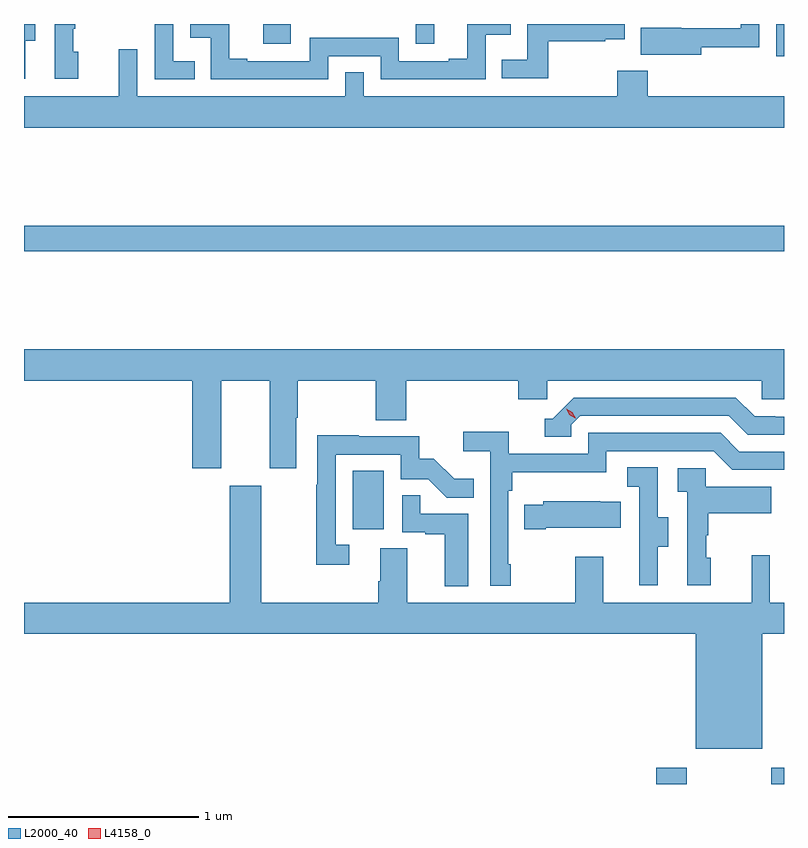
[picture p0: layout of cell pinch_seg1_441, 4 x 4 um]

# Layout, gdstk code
import gdstk
lib = gdstk.Library(unit=1e-6, precision=1e-09)
def R(c, l, rs):  # rectangles x0, y0, x1, y1
    for r in rs: c.add(gdstk.rectangle(r[:2], r[2:], *l))
def P(c, l, *ps):  # polygons
    for p in ps: c.add(gdstk.Polygon(p, *l))
L2000_40 = (2000, 40)
L4158_0 = (4158, 0)

pinch_seg1_441 = lib.new_cell('pinch_seg1_441')
R(pinch_seg1_441, L2000_40, [(1003.193,517.641,1003.353,517.726), (1003.798,517.641,1003.865,517.726), (1001.594,518.982,1001.758,519.289), (999.865,520.444,1003.865,520.58), (1003.823,521.472,1003.865,521.641), (1001.125,521.538,1001.269,521.641), (1001.928,521.538,1002.025,521.641)])
P(pinch_seg1_441, L2000_40, [(1001.466,521.472),(1001.742,521.472),(1001.742,521.349),(1002.294,521.349),(1002.294,521.585),(1002.426,521.585),(1002.426,521.641),(1002.197,521.641),(1002.197,521.458),(1002.101,521.458),(1002.101,521.445),(1001.838,521.445),(1001.838,521.568),(1001.37,521.568),(1001.37,521.445),(1001.041,521.445),(1001.041,521.458),(1000.946,521.458),(1000.946,521.641),(1000.74,521.641),(1000.74,521.568),(1000.848,521.568),(1000.848,521.349),(1001.466,521.349)],
  [(1002.625,521.55),(1002.923,521.55),(1002.923,521.561),(1003.026,521.561),(1003.026,521.641),(1002.514,521.641),(1002.514,521.452),(1002.379,521.452),(1002.379,521.355),(1002.625,521.355)],
  [(1003.429,521.518),(1003.734,521.518),(1003.734,521.641),(1003.638,521.641),(1003.638,521.619),(1003.325,521.619),(1003.325,521.62),(1003.111,521.62),(1003.111,521.48),(1003.429,521.48)],
  [(1000.763,521.445),(1000.65,521.445),(1000.65,521.641),(1000.554,521.641),(1000.554,521.349),(1000.763,521.349)],
  [(1000.15,521.496),(1000.125,521.496),(1000.125,521.615),(1000.135,521.615),(1000.135,521.641),(1000.026,521.641),(1000.026,521.352),(1000.15,521.352)],
  [(999.871,521.554),(999.925,521.554),(999.925,521.641),(999.865,521.641),(999.865,521.352),(999.871,521.352)],
  [(1003.865,521.26),(1003.148,521.26),(1003.148,521.395),(1002.988,521.395),(1002.988,521.26),(1001.652,521.26),(1001.652,521.387),(1001.556,521.387),(1001.556,521.26),(1000.461,521.26),(1000.461,521.509),(1000.364,521.509),(1000.364,521.26),(999.865,521.26),(999.865,521.096),(1003.865,521.096)],
  [(1000.903,519.764),(1001.159,519.764),(1001.159,519.303),(1001.299,519.303),(1001.299,519.568),(1001.307,519.568),(1001.307,519.764),(1001.716,519.764),(1001.716,519.556),(1001.876,519.556),(1001.876,519.764),(1002.467,519.764),(1002.467,519.666),(1002.618,519.666),(1002.618,519.764),(1003.749,519.764),(1003.749,519.666),(1003.865,519.666),(1003.865,519.928),(999.865,519.928),(999.865,519.764),(1000.751,519.764),(1000.751,519.303),(1000.903,519.303)],
  [(1002.744,519.531),(1002.792,519.579),(1003.575,519.579),(1003.674,519.48),(1003.865,519.48),(1003.865,519.573),(1003.818,519.573),(1003.818,519.576),(1003.711,519.576),(1003.612,519.675),(1002.759,519.675),(1002.648,519.564),(1002.605,519.564),(1002.605,519.468),(1002.744,519.468)],
  [(1002.427,518.797),(1002.414,518.797),(1002.414,519.185),(1002.434,519.185),(1002.434,519.281),(1002.93,519.281),(1002.93,519.393),(1003.494,519.393),(1003.593,519.294),(1003.865,519.294),(1003.865,519.39),(1003.63,519.39),(1003.531,519.489),(1002.834,519.489),(1002.834,519.378),(1002.416,519.378),(1002.416,519.494),(1002.177,519.494),(1002.177,519.392),(1002.318,519.392),(1002.318,518.685),(1002.427,518.685)],
  [(1001.578,518.901),(1001.505,518.901),(1001.505,519.375),(1001.847,519.375),(1001.847,519.246),(1001.992,519.246),(1002.09,519.148),(1002.233,519.148),(1002.233,519.247),(1002.129,519.247),(1002.022,519.354),(1001.946,519.354),(1001.946,519.471),(1001.627,519.471),(1001.627,519.476),(1001.409,519.476),(1001.409,519.215),(1001.404,519.215),(1001.404,518.796),(1001.578,518.796)],
  [(1003.201,518.89),(1003.255,518.89),(1003.255,519.045),(1003.2,519.045),(1003.2,519.308),(1003.041,519.308),(1003.041,519.205),(1003.104,519.205),(1003.104,518.901),(1003.103,518.901),(1003.103,518.688),(1003.201,518.688)],
  [(1003.48,518.832),(1003.455,518.832),(1003.455,518.951),(1003.465,518.951),(1003.465,519.065),(1003.799,519.065),(1003.799,519.205),(1003.452,519.205),(1003.452,519.303),(1003.305,519.303),(1003.305,519.179),(1003.356,519.179),(1003.356,518.688),(1003.48,518.688)],
  [(1003.75,518.432),(1003.865,518.432),(1003.865,518.596),(1003.791,518.596),(1003.791,518.845),(1003.694,518.845),(1003.694,518.596),(1002.913,518.596),(1002.913,518.836),(1002.766,518.836),(1002.766,518.596),(1001.881,518.596),(1001.881,518.882),(1001.741,518.882),(1001.741,518.708),(1001.729,518.708),(1001.729,518.596),(1001.113,518.596),(1001.113,519.211),(1000.949,519.211),(1000.949,518.596),(999.865,518.596),(999.865,518.432),(1003.4,518.432),(1003.4,517.826),(1003.75,517.826)],
  [(1002.202,519.063),(1001.951,519.063),(1001.951,519.161),(1001.856,519.161),(1001.856,518.967),(1001.977,518.967),(1001.977,518.955),(1002.08,518.955),(1002.08,518.681),(1002.202,518.681)],
  [(1002.61,518.99),(1003.007,518.99),(1003.007,519.127),(1002.899,519.127),(1002.899,519.13),(1002.597,519.13),(1002.597,519.112),(1002.499,519.112),(1002.499,518.983),(1002.61,518.983)])
P(pinch_seg1_441, L4158_0, [(1002.767,519.565),(1002.736,519.584),(1002.72,519.616),(1002.72,519.616),(1002.72,519.616),(1002.751,519.597),(1002.768,519.565),(1002.768,519.565)])

lib.write_gds('pinch_seg1_441.gds')
